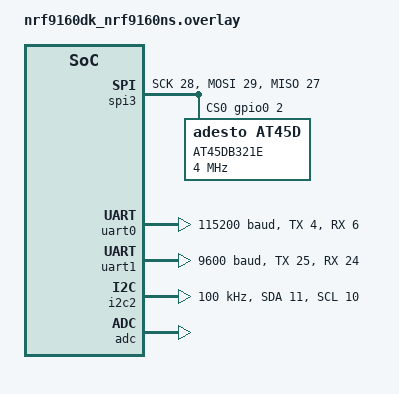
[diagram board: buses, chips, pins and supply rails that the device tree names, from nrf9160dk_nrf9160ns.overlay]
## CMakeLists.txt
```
cmake_minimum_required(VERSION 3.13.1)

zephyr_compile_options(-fdiagnostics-color=always)
set(CMAKE_EXPORT_COMPILE_COMMANDS ON)

add_subdirectory(drivers)
```

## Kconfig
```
menu "zeohyr-spi-flash-en25-driver"

rsource "drivers/Kconfig"

endmenu
```

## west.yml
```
manifest:
  self:
    # This repository should be cloned to
    path: project

  remotes:
    - name: nrfconnect
      url-base: https://github.com/nrfconnect
    - name: irnas
      url-base: https://github.com/irnas

  projects:
    # the NCS repository
    - name: nrf
      repo-path: sdk-nrf
      remote: nrfconnect
      # IMPORTANT: When changing NCS revision you need to change revision of
      # Zephyr project below so it matches.
      revision: v2.4.0
      import:
        name-allowlist:
          # Ignore NCS private repos, keep this list sorted alphabetically.
          # - ant
          # - bsim
          # - azure-sdk-for-c
          # - cirrus
          # - cjson
          - cmock
          # - dragoon
          # - find-my
          # - homekit
          # - hostap
          # - matter
          # - mbedtls
          # - mbedtls-nrf
          - mcuboot
          # - memfault-firmware-sdk
          # - nrf-802154
          - nrfxlib
          # - openthread
          # - sdk-lc3
          - tfm-mcuboot
          - trusted-firmware-m
          - unity
          - qcbor
          # Ignore zephyr repo as it is added below manually
          # - zephyr

    - name: zephyr
      remote: nrfconnect
      repo-path: sdk-zephyr
      revision: v3.3.99-ncs1
      import:
        # In addition to the zephyr repository itself, NCS also
        # imports the contents of zephyr/west.yml at the above
        # revision. Only the projects explicitly named in the
        # following allowlist are imported.
        #
        # Note that the zephyr west extensions (like 'build', 'flash',
        # 'debug', etc.) are automatically provided by this import, so
        # there's no need to add a redundant west-commands: key for
        # the zephyr project.
        #
        # Please keep this list sorted alphabetically.
        name-allowlist:
          # - canopennode
          # - chre
          - cmsis
          # - edtt
          - fatfs
          # -  hal_altera
          # -  hal_atmel
          # -  hal_espressif
          # -  hal_ethos_u
          # -  hal_gigadevice
          # -  hal_infineon
          # -  hal_microchip
          - hal_nordic
          # -  hal_nuvoton
          # -  hal_nxp
          # -  hal_openisa
          # -  hal_quicklogic
          # -  hal_renesas
          # -  hal_rpi_pico
          # -  hal_silabs
          - hal_st # Hal for ST's sensors, not for MCU's
          # -  hal_stm32
          # -  hal_telink
          # -  hal_ti
          # -  hal_wurthelektronik
          # -  hal_xtensa
          # - libmetal
          # - liblc3
          # - littlefs
          - loramac-node
          # - lvgl
          # - lz4
          # - mbedtls
          # - mipi-sys-t
          # - nanopb
          # - net-tools
          - nrf_hw_models
          # - open-amp
          # - openthread
          - picolibc
          # - psa-arch-tests
          - segger
          - sof
          # - tflite-micro
          - tinycrypt
          # - TraceRecorderSource
          # - trusted-firmware-m
          # - trusted-firmware-a
          - tf-m-tests
          - psa-arch-tests
          # - uoscore-uedhoc
          - zcbor
          # - zscilib
          # - thrift
```

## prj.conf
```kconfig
CONFIG_STDOUT_CONSOLE=y
CONFIG_LOG=y
CONFIG_LOG_IMMEDIATE=y

CONFIG_ZTEST=y

CONFIG_SPI=y
CONFIG_FLASH=y
CONFIG_FLASH_PAGE_LAYOUT=y

CONFIG_SPI_FLASH_EN25=y

CONFIG_DEVICE_POWER_MANAGEMENT=y
CONFIG_LOG_BACKEND_SHOW_COLOR=y
```

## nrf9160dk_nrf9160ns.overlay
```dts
/*
 * Copyright (c) 2020 Nordic Semiconductor ASA
 *
 * SPDX-License-Identifier: Apache-2.0
 */

&spi3 {
    status = "okay";
    sck-pin = < 28 >;
    mosi-pin = < 29 >;
    miso-pin = < 27 >;
    cs-gpios = <&gpio0 2 0>;

    at45db321e@0 {
        compatible = "adesto,at45d";
        reg = <0>;
        spi-max-frequency = <4000000>;
        label = "AT45DB321E";
        jedec-id = [1f 27 01];
        // jedec-id = [00 00 00];
        size = <33554432>;
        block-size = <4096>;
        page-size = <512>;
        enter-dpd-delay = <2000>;
        exit-dpd-delay = <35000>;
    };
};

&uart0 {
	status = "okay";
	current-speed = <115200>;
	tx-pin = <4>;
	rx-pin = <6>;
	rts-pin = <0xffffffff>;
	cts-pin = <0xffffffff>;
};

&uart1 {
	status = "okay";
	current-speed = <9600>;
	tx-pin = <25>;
	rx-pin = <24>;
	rts-pin = <0xffffffff>;
	cts-pin = <0xffffffff>;
};

&i2c2 {
  status = "okay";
  sda-pin = < 11 >;
  scl-pin = < 10 >;
  clock-frequency = <I2C_BITRATE_STANDARD>;
};

&adc {
  status = "okay";
};
```

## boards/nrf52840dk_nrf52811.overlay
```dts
/*
 * Copyright (c) 2020 Nordic Semiconductor ASA
 *
 * SPDX-License-Identifier: Apache-2.0
 */

&uart0 {
	status = "okay";
	current-speed = <115200>;
	tx-pin = <6>;
	rx-pin = <12>;
	/delete-property/   rts-pin;
    /delete-property/	cts-pin;
};

&spi0 {
    status = "okay";
    sck-pin = < 9 >;
    mosi-pin = < 10 >;
    miso-pin = < 11 >;
    cs-gpios = <&gpio0 7 1>;

    flash42: en25qh32b@0 {
        // We leave adesto and at45 as these values are defined in .yml files and
        // actually provide a set of bindings that we have to provide.
        // We do this so we can avoid writing this ourselfs. 
        reg = <0>;
        label = "EN25QH32B";
        status = "okay";
        //compatible = "esmt,en25"; // No device binding
        compatible = "atmel,at45";

        jedec-id = [1c 70 16];  //Check this
        size = <33554432>;
        sector-size = <4096>;
        block-size = <4096>;
        page-size = <256>;
        spi-max-frequency = <104000000>;

        enter-dpd-delay = <30>;
        exit-dpd-delay = <30>;
    };
};
```

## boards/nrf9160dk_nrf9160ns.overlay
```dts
/*
 * Copyright (c) 2020 Nordic Semiconductor ASA
 *
 * SPDX-License-Identifier: Apache-2.0
 */

&spi3 {
    status = "okay";
    sck-pin = < 28 >;
    mosi-pin = < 29 >;
    miso-pin = < 27 >;
    cs-gpios = <&gpio0 2 1>;

    flash42: en25qh32b@0 {
        // We leave adesto and at45 as these values are defined in .yml files and
        // actually provide a set of bindings that we have to provide.
        // We do this so we can avoid writing this ourselfs. 
        reg = <0>;
        label = "EN25QH32B";
        status = "okay";
        //compatible = "esmt,en25"; // No device binding
        compatible = "atmel,at45";

        jedec-id = [1c 70 16];  //Check this
        size = <33554432>;
        sector-size = <4096>;
        block-size = <4096>;
        page-size = <256>;
        spi-max-frequency = <104000000>;

        enter-dpd-delay = <30>;
        exit-dpd-delay = <30>;
    };

    //flash42: at45db321e@0 {
    //    compatible = "adesto,at45d";
    //    reg = <0>;
    //    spi-max-frequency = <4000000>;
    //    label = "AT45DB321E";
    //    jedec-id = [1f 27 01];
    //    // jedec-id = [00 00 00];
    //    size = <33554432>;
    //    block-size = <4096>;
    //    page-size = <512>;
    //    enter-dpd-delay = <2000>;
    //    exit-dpd-delay = <35000>;
    //};
};

&uart0 {
	status = "okay";
	current-speed = <115200>;
	tx-pin = <4>;
	rx-pin = <6>;
	/delete-property/ rts-pin;
    /delete-property/	cts-pin;
};
```

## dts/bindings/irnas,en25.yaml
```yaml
# Copyright (c) 2020 Nordic Semiconductor ASA
# SPDX-License-Identifier: Apache-2.0

description: ESMT EN25 (or compatible) SPI flash

compatible: "irnas,en25"

include: [spi-device.yaml]

properties:
  jedec-id:
    type: uint8-array
    required: true
    description: JEDEC ID as manufacturer ID (1 byte) and device ID (2 bytes).

  size:
    type: int
    required: true
    description: Flash capacity in bits.

  write-sector-size:
    type: int
    required: true
    description: |
      Write sector size (in bytes). This might be called "programmable page" or
      something similar in the datasheet.

  erase-full-block-size:
    type: int
    required: true
    description: |
      The size (in bytes) of a full block for erase purposes.

  erase-half-block-size:
    type: int
    required: true
    description: |
      The size (in bytes) of a half block for erase purposes.

  erase-sector-size:
    type: int
    required: true
    description: |
      The size (in bytes) of a sector for erase purposes. This size
      should be the smallest erasable sector/block/page that the chip supports.
      NOTE: This driver assumes a uniform sector architecture.

  use-udpd:
    type: boolean
    required: false
    description: |
      When set, the driver will use the Ultra-Deep Power-Down command instead
      of the default Deep Power-Down one to put the chip into low power mode.

      From the driver perspective, as it does not rely on the contents of the
      SRAM buffers in the chip, the difference between the Deep and Ultra-Deep
      Power-Down modes is that the chip consumes far less power in the latter
      but needs some more time to enter this mode and to exit from it.

  enter-dpd-delay:
    type: int
    required: false
    default: 0
    description: |
      Time, in nanoseconds, needed by the chip to enter the Deep Power-Down
      mode (or Ultra-Deep Power-Down mode when the "use-udpd" property is set)
      after the corresponding command is issued.

  exit-dpd-delay:
    type: int
    required: false
    default: 0
    description: |
      Time, in nanoseconds, needed by the chip to exit from the Deep Power-Down
      mode (or Ultra-Deep Power-Down mode when the "use-udpd" property is set)
      after the corresponding command is issued.

  wp-gpios:
    type: phandle-array
    required: false
    description: WPn pin

  hold-gpios:
    type: phandle-array
    required: false
    description: HOLDn pin

  ext-mutex-gpios:
    type: phandle-array
    required: false
    description: |
      Enable external mutex functionality.
      Set this if multiple MCUs will interface with the same en25 flash peripheral.
      The pin defined here must be connected between both MCUs and will be used to signal
      when flash is busy.

  ext-mutex-role:
    type: string
    required: false
    enum:
      - "master"
      - "slave"
    description: |
      Mutex role for MCU. One should be configured to "master" and the other to "slave".
      The "slave" role performs an additional check of the spi clock, and is thus a bit slower.
      Use "master" on the MCU that is expected to use the flash more often.

  spi-clk-gpios:
    type: phandle-array
    required: false
    description: |
      Required for the external mutex slave role. Must be the same pin that is used for the
      parent SPI clock.
```

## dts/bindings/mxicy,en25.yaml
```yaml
# Copyright (c) 2020 Nordic Semiconductor ASA
# SPDX-License-Identifier: Apache-2.0

description:
  ESMT EN25 (or compatible) SPI flash made by Macronix International Co., Ltd.

compatible: "mxicy,en25"

include: [spi-device.yaml]

properties:
  jedec-id:
    type: uint8-array
    required: true
    description: JEDEC ID as manufacturer ID (1 byte) and device ID (2 bytes).

  size:
    type: int
    required: true
    description: Flash capacity in bits.

  write-sector-size:
    type: int
    required: true
    description: |
      Write sector size (in bytes). This might be called "programmable page" or
      something similar in the datasheet.

  erase-full-block-size:
    type: int
    required: true
    description: |
      The size (in bytes) of a full block for erase purposes.

  erase-half-block-size:
    type: int
    required: true
    description: |
      The size (in bytes) of a half block for erase purposes.

  erase-sector-size:
    type: int
    required: true
    description: |
      The size (in bytes) of a sector for erase purposes. This size
      should be the smallest erasable sector/block/page that the chip supports.
      NOTE: This driver assumes a uniform sector architecture.

  use-udpd:
    type: boolean
    required: false
    description: |
      When set, the driver will use the Ultra-Deep Power-Down command instead
      of the default Deep Power-Down one to put the chip into low power mode.

      From the driver perspective, as it does not rely on the contents of the
      SRAM buffers in the chip, the difference between the Deep and Ultra-Deep
      Power-Down modes is that the chip consumes far less power in the latter
      but needs some more time to enter this mode and to exit from it.

  enter-dpd-delay:
    type: int
    required: false
    default: 0
    description: |
      Time, in nanoseconds, needed by the chip to enter the Deep Power-Down
      mode (or Ultra-Deep Power-Down mode when the "use-udpd" property is set)
      after the corresponding command is issued.

  exit-dpd-delay:
    type: int
    required: false
    default: 0
    description: |
      Time, in nanoseconds, needed by the chip to exit from the Deep Power-Down
      mode (or Ultra-Deep Power-Down mode when the "use-udpd" property is set)
      after the corresponding command is issued.

  wp-gpios:
    type: phandle-array
    required: false
    description: WPn pin

  hold-gpios:
    type: phandle-array
    required: false
    description: HOLDn pin

  ext-mutex-gpios:
    type: phandle-array
    required: false
    description: |
      Enable external mutex functionality.
      Set this if multiple MCUs will interface with the same en25 flash peripheral.
      The pin defined here must be connected between both MCUs and will be used to signal
      when flash is busy.

  ext-mutex-role:
    type: string
    required: false
    enum:
      - "master"
      - "slave"
    description: |
      Mutex role for MCU. One should be configured to "master" and the other to "slave".
      The "slave" role performs an additional check of the spi clock, and is thus a bit slower.
      Use "master" on the MCU that is expected to use the flash more often.

  spi-clk-gpios:
    type: phandle-array
    required: false
    description: |
      Required for the external mutex slave role. Must be the same pin that is used for the
      parent SPI clock.
```

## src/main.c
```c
#include <zephyr.h>
#include <drivers/flash.h>
#include <logging/log_ctrl.h>

#include <zephyr.h>
#include <ztest.h>
#include <drivers/flash.h>
#include <drivers/gpio.h>
#include <devicetree.h>
#include <storage/flash_map.h>

#define FLASH_DEVICE DT_LABEL(DT_NODELABEL(flash42))
#define CHIP_SIZE DT_PROP(DT_NODELABEL(flash42), size)
#define PAGE_SIZE DT_PROP(DT_NODELABEL(flash42), page_size)

#define TEST_REGION_OFFSET  0xFE00
#define TEST_REGION_SIZE    0x1200

/* For some reason this has to be declared statically, if declared inside a
 * function, an error is throwed. */
static uint8_t write_buf[TEST_REGION_SIZE];
static uint8_t read_buf[TEST_REGION_SIZE];

static void test_get_binding()
{
	const struct device *flash_dev;
	flash_dev = device_get_binding(FLASH_DEVICE);
    zassert_not_null(flash_dev, "Returned device is null");
    
    if (strcmp(CONFIG_BOARD, "nrf9160dk_nrf9160") == 0)
    {
      const struct device *gpio_dev;
      gpio_dev = device_get_binding("GPIO_0");
      gpio_pin_configure(gpio_dev, 16, GPIO_OUTPUT);  // LR1110 reset
      gpio_pin_configure(gpio_dev, 18, GPIO_OUTPUT);  // LR1110 nss
      gpio_pin_configure(gpio_dev, 19, GPIO_OUTPUT);  // LR1110 pwr en
      gpio_pin_set(gpio_dev, 16, 1);
      gpio_pin_set(gpio_dev, 18, 1);
      gpio_pin_set(gpio_dev, 19, 1);
    }
}

#define ERASE_BUF_SIZE PAGE_SIZE      /* This should be equal to page size*/
static uint8_t erase_check_buf[ERASE_BUF_SIZE];

static void test_full_erase_full_read_write()
{
	const struct device *flash_dev;
	int i,j;
	int err;
	uint8_t data;
	struct flash_pages_info pages_info;
	size_t page_count, chip_size;


	flash_dev = device_get_binding(FLASH_DEVICE);
    zassert_not_null(flash_dev, "Returned device is null");

    page_count = flash_get_page_count(flash_dev);
    (void)flash_get_page_info_by_idx(flash_dev, 0, &pages_info);
    chip_size = page_count * pages_info.size;
    err = flash_read(flash_dev, TEST_REGION_OFFSET, &data, 1);

    /* Chip size that we get from multiplication is in bytes,
     * but CHIP_SIZE that we get from device tree macro is in bits*/
    zassert_equal((chip_size*8), CHIP_SIZE, "Chip sizes are not equal");
    zassert_equal(pages_info.size, PAGE_SIZE, "Page sizes are not equal");
    zassert_equal(err, 0, "Flash read failed");

	printk(" INFO - Starting full flash erase, this will take around 15 seconds...\n");
	err = flash_erase(flash_dev, 0, chip_size);
	printk(" INFO - Starting full flash erase, this will take around 15 seconds...\n");
    zassert_equal(err, 0, "Full flash erase failed");

	printk(" INFO - Checking that everything was erased, this will take some time...\n");
    for (i = 0; i < page_count; i++) {
        err = flash_read(flash_dev, ERASE_BUF_SIZE * i, erase_check_buf, ERASE_BUF_SIZE);
        zassert_equal(err, 0, "Flash read failed at i: %d", i);
        for (j = 0; j < ERASE_BUF_SIZE; j++) {
            zassert_equal(erase_check_buf[j], 0xFF, 
                    "ERROR at erase_check_buf[%d]: expected 0x%02X, got 0x%02X\n,\n i is: %d", 
                    j, 0xFF, erase_check_buf[j], i);
        }
    }


	printk(" INFO - Writing entire flash with dummy values, this will take some time...\n");
    for (i = 0; i < ERASE_BUF_SIZE; ++i) {
        erase_check_buf[i] = i;
    }
    for (i = 0; i < page_count; i++) {
        err = flash_write(flash_dev, ERASE_BUF_SIZE * i, erase_check_buf, ERASE_BUF_SIZE);
        zassert_equal(err, 0, "Flash read failed at i: %d", i);
    }

    /* Erase just in case*/
    for (i = 0; i < ERASE_BUF_SIZE; ++i) {
        erase_check_buf[i] = 0;
    }

	printk(" INFO - Reading entire flash, this will take some time...\n");
    for (i = 0; i < page_count; i++) {
        err = flash_read(flash_dev, ERASE_BUF_SIZE * i, erase_check_buf, ERASE_BUF_SIZE);
        zassert_equal(err, 0, "Flash read failed at i: %d", i);
        for (j = 0; j < ERASE_BUF_SIZE; j++) {
            zassert_equal(erase_check_buf[j], j, 
                    "ERROR at erase_check_buf[%d]: expected 0x%02X, got 0x%02X\n,\n i is: %d", 
                    j, j, erase_check_buf[j], i);
        }
    }
}

static void test_erase_read_write()
{
	const struct device *flash_dev;
	int i;
	int err;
	uint8_t data;
	struct flash_pages_info pages_info;
	size_t page_count, chip_size;


	flash_dev = device_get_binding(FLASH_DEVICE);
    zassert_not_null(flash_dev, "Returned device is null");

    page_count = flash_get_page_count(flash_dev);
    (void)flash_get_page_info_by_idx(flash_dev, 0, &pages_info);
    chip_size = page_count * pages_info.size;
    err = flash_read(flash_dev, TEST_REGION_OFFSET, &data, 1);

    /* Chip size that we get from multiplication is in bytes,
     * but CHIP_SIZE that we get form device tree macro is in bits*/
    zassert_equal((chip_size*8), CHIP_SIZE, "Chip sizes are not equal");
    zassert_equal(pages_info.size, PAGE_SIZE, "Page sizes are not equal");
    zassert_equal(err, 0, "Flash read failed");

    ++data;
    for (i = 0; i < TEST_REGION_SIZE; ++i) {
        write_buf[i] = (uint8_t)(data + i);
    }

    err = flash_erase(flash_dev, TEST_REGION_OFFSET, TEST_REGION_SIZE);
    zassert_equal(err, 0, "Flash region erase failed");


    err = flash_read(flash_dev, TEST_REGION_OFFSET, read_buf, TEST_REGION_SIZE);
    zassert_equal(err, 0, "Flash read failed");

	for (i = 0; i < TEST_REGION_SIZE; ++i) {
        zassert_equal(read_buf[i], 0xFF, 
                "ERROR at read_buf[%d]: expected 0x%02X, got 0x%02X\n", 
                i, 0xFF, read_buf[i]);
	}

    err = flash_write(flash_dev, TEST_REGION_OFFSET, write_buf, TEST_REGION_SIZE);
    zassert_equal(err, 0, "Flash write failed");

    err = flash_write(flash_dev, TEST_REGION_OFFSET + TEST_REGION_SIZE/2, 
            &write_buf[TEST_REGION_SIZE/2], TEST_REGION_SIZE/2);
    zassert_equal(err, 0, "Flash write failed");

    err = flash_read(flash_dev, TEST_REGION_OFFSET, read_buf, TEST_REGION_SIZE);
    zassert_equal(err, 0, "Flash read failed");

	for (i = 0; i < TEST_REGION_SIZE; ++i) {
        zassert_equal(read_buf[i], write_buf[i], 
                "ERROR at read_buf[%d]: expected 0x%02X, got 0x%02X\n", 
                i, write_buf[i], read_buf[i]);
	}
}

#define TEST_AREA_MAX DT_PROP(DT_NODELABEL(flash42), size)
#define EXPECTED_SIZE	1024
#define CANARY		0xff

static uint8_t __aligned(4) expected[EXPECTED_SIZE];

static void test_setup1(void)
{
	int rc;
	const struct device *flash_dev;
	struct flash_pages_info page_info;

	flash_dev = device_get_binding(FLASH_DEVICE);
	const struct flash_parameters *flash_parameters =
			flash_get_parameters(flash_dev);

	/* For tests purposes use page (in nrf_qspi_nor page = 64 kB) */
	flash_get_page_info_by_offs(flash_dev, TEST_REGION_OFFSET,
				    &page_info);

	/* Check if test region is not empty */
	uint8_t buf[EXPECTED_SIZE];

	rc = flash_read(flash_dev, TEST_REGION_OFFSET,
			buf, EXPECTED_SIZE);
	zassert_equal(rc, 0, "Cannot read flash");

	/* Fill test buffer with random data */
	for (int i = 0; i < EXPECTED_SIZE; i++) {
		expected[i] = i;
	}

	/* Check if tested region fits in flash */
	zassert_true((TEST_REGION_OFFSET + EXPECTED_SIZE) < TEST_AREA_MAX,
		     "Test area exceeds flash size");

	/* Check if flash is cleared */
	bool is_buf_clear = true;

	for (off_t i = 0; i < EXPECTED_SIZE; i++) {
		if (buf[i] != flash_parameters->erase_value) {
			is_buf_clear = false;
			break;
		}
	}

	if (!is_buf_clear) {
		/* erase page */
		rc = flash_erase(flash_dev, page_info.start_offset,
				 page_info.size);
		zassert_equal(rc, 0, "Flash memory not properly erased");
	}

}

static void test_read_unaligned_address(void)
{
	int rc;
	uint8_t buf[EXPECTED_SIZE];
	const struct device *flash_dev;
	struct flash_pages_info page_info;

	flash_dev = device_get_binding(FLASH_DEVICE);

	flash_get_page_info_by_offs(flash_dev, TEST_REGION_OFFSET,
				    &page_info);

	rc = flash_write(flash_dev,
			 page_info.start_offset,
			 expected, EXPECTED_SIZE);
	zassert_equal(rc, 0, "Cannot write to flash");

	/* read buffer length*/
	for (off_t len = 0; len < 25; len++) {
		/* address offset */
		for (off_t ad_o = 0; ad_o < 4; ad_o++) {
			/* buffer offset; leave space for buffer guard */
			for (off_t buf_o = 1; buf_o < 5; buf_o++) {
				/* buffer overflow protection */
				buf[buf_o - 1] = CANARY;
				buf[buf_o + len] = CANARY;
				memset(buf + buf_o, 0, len);
				rc = flash_read(flash_dev,
						page_info.start_offset + ad_o,
						buf + buf_o, len);
				zassert_equal(rc, 0, "Cannot read flash");
				zassert_equal(memcmp(buf + buf_o,
						expected + ad_o,
						len),
					0, "Flash read failed at len=%d, "
					"ad_o=%d, buf_o=%d", len, ad_o, buf_o);
				/* check buffer guards */
				zassert_equal(buf[buf_o - 1], CANARY,
					"Buffer underflow at len=%d, "
					"ad_o=%d, buf_o=%d", len, ad_o, buf_o);
				zassert_equal(buf[buf_o + len], CANARY,
					"Buffer overflow at len=%d, "
					"ad_o=%d, buf_o=%d", len, ad_o, buf_o);
			}
		}
	}
}

static void test_low_power()
{
	const struct device *flash_dev;
    int err;
	flash_dev = device_get_binding(FLASH_DEVICE);

#if IS_ENABLED(CONFIG_DEVICE_POWER_MANAGEMENT)
	printk("Putting the flash device into low power state...\n");
	err = device_set_power_state(flash_dev, DEVICE_PM_LOW_POWER_STATE,
				     NULL, NULL);
    zassert_equal(err, 0, "Setting low power mode failed");
#endif
}


void test_main(void)
{
    ztest_test_suite(flash_driver_test,
            ztest_unit_test(test_get_binding),
            ztest_unit_test(test_erase_read_write),
            ztest_unit_test(test_full_erase_full_read_write),
            ztest_unit_test(test_setup1),
            ztest_unit_test(test_read_unaligned_address),
            ztest_unit_test(test_low_power)
            );

    ztest_run_test_suite(flash_driver_test);
}
```
